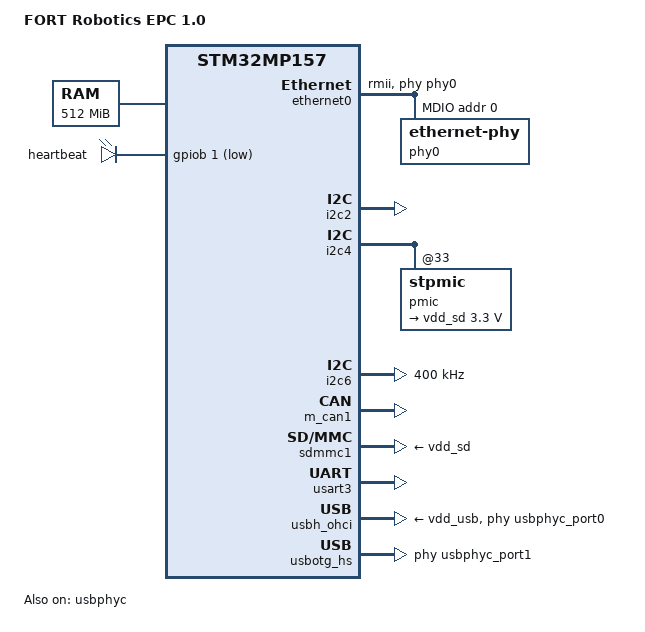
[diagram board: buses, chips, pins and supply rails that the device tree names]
/dts-v1/;

#include "stm32mp157c-ed1.dts"
//#include <dt-bindings/input/input.h>
//#include <dt-bindings/soc/stm32-hdp.h>
#include "stm32mp157c-epc-common-pinctrl.dtsi"
#include "stm32mp157c-epc-revc-pinctrl.dtsi"
#include "stm32mp157c-epc-common-gpio-defaults.dtsi"
#include "stm32mp157c-epc-common-platform.dtsi"

/ {
    model = "FORT Robotics EPC 1.0";
    compatible = "stm32mp157c-epc-revc", "st,stm32mp157c-ed1", "st,stm32mp157";

    chosen {
        stdout-path = "serial0:115200n8";
    };

    memory@c0000000 {
        reg = <0xc0000000 0x20000000>;
    };

    aliases {
        serial1 = &usart3;
        ethernet0 = &ethernet0;
        i2c6 = &i2c6;
    };

    led {
        compatible = "gpio-leds";
        /delete-node/ blue;
        green {
            label = "heartbeat";
            gpios = <&gpiob 1 GPIO_ACTIVE_LOW>;
            linux,default-trigger = "heartbeat";
            default-state = "off";
            drive-open-drain;
        };
    };

    /delete-node/ sd_switch;
};

&adc {
    status = "disabled";
};

&cec {
    status = "disabled";
};

&dac {
    status = "disabled";
};

&dcmi {
    status = "disabled";
};

&dfsdm {
    status = "disabled";
};

&dsi {
    status = "disabled";
};

&ethernet0 {
    status = "okay";
    pinctrl-0 = <&ethernet0_rmii_pins_a>;
    pinctrl-1 = <&ethernet0_rmii_pins_sleep_a>;
    pinctrl-names = "default", "sleep";
    phy-mode = "rmii";
    max-speed = <1000>;
    phy-handle = <&phy0>;

    mdio0 {
        #address-cells = <1>;
        #size-cells = <0>;
        compatible = "snps,dwmac-mdio";
        phy0: ethernet-phy@0 {
            reg = <0>;
        };
    };
};

&fmc {
    status = "disabled";
};

#if 0
&hdp {
    status = "disabled";
};
#endif

&i2c2 {
    pinctrl-names = "default", "sleep";
    pinctrl-0 = <&i2c2_pins_a>;
    pinctrl-1 = <&i2c2_pins_sleep_a>;
    status = "okay";
    /delete-property/dmas;
    /delete-property/dma-names;
};

&i2c4 {
    pinctrl-0 = <&i2c4_pins_b &i2c4_pins_b_z>;
    pinctrl-1 = <&i2c4_pins_sleep_b &i2c4_pins_sleep_b_z>;

    pmic: stpmic@33 {
        regulators {
            vdd_sd: ldo5 {
                regulator-min-microvolt = <3300000>;
                regulator-max-microvolt = <3300000>;
            };

            v1v8: ldo6 {
                regulator-enable-ramp-delay = <300000>;
            };
        };

        onkey {
            status = "disabled";
        };
    };
};

&i2c5 {
    pinctrl-names = "default", "sleep";
    pinctrl-0 = <&i2c5_pins_a>;
    pinctrl-1 = <&i2c5_pins_sleep_a>;
    i2c-scl-rising-time-ns = <185>;
    i2c-scl-falling-time-ns = <20>;
    /delete-property/dmas;
    /delete-property/dma-names;
};

&i2c6 {
    pinctrl-names = "default", "sleep";
    pinctrl-0 = <&i2c6_pins_a>;
    pinctrl-1 = <&i2c6_pins_sleep_a>;
    i2c-scl-rising-time-ns = <185>;
    i2c-scl-falling-time-ns = <20>;
    /delete-property/dmas;
    /delete-property/dma-names;
    status = "okay";
    clock-frequency=<400000>;

};

&ipcc {
    status = "disabled";
};

&iwdg2 {
    status = "disabled";
};

&ltdc {
    status = "disabled";
};

&m4_rproc {
    status = "disabled";
};

&m_can1 {
    pinctrl-names = "default", "sleep";
    pinctrl-0 = <&m_can1_pins_a>;
    pinctrl-1 = <&m_can1_sleep_pins_a>;
    status = "okay";
};

&pwr_regulators {
    /delete-property/ vdd_3v3_usbfs-supply;
};

&qspi {
    status = "disabled";
};

&sai2 {
    status = "disabled";

    sai2a: audio-controller@4400b004 {
        status = "disabled";
    };

    sai2b: audio-controller@4400b024 {
        status = "disabled";
    };
};

&sai4 {
    status = "disabled";

    sai4a: audio-controller@50027004 {
        status = "disabled";
    };
};

&sdmmc1 {
    pinctrl-0 = <&sdmmc1_b4_pins_a>;
    pinctrl-1 = <&sdmmc1_b4_od_pins_a>;
    pinctrl-2 = <&sdmmc1_b4_sleep_pins_a>;
    vmmc-supply = <&vdd_sd>;
    vqmmc-supply = <&vdd_sd>;
    /delete-property/ st,sig-dir;
    /delete-property/ st,use-ckin;
    /delete-property/ sd-uhs-sdr12;
    /delete-property/ sd-uhs-sdr25;
    /delete-property/ sd-uhs-sdr50;
    /delete-property/ sd-uhs-ddr50;
    /delete-property/ sd-uhs-sdr104;
    /*no-1-8-v;*/
    broken-cd;
    /*cd-gpios = <&gpiof 3 0>;*/
};

&sdmmc3 {
    status = "disabled";
};

&spdifrx {
    status = "disabled";
};

&spi1 {
    status = "disabled";
};

&timers2 {
    status = "disabled";
    /* spare dmas for other usage (un-delete to enable pwm capture) */
    /delete-property/dmas;
    /delete-property/dma-names;
    pwm {
        status = "disabled";
    };
    timer@1 {
        status = "disabled";
    };
};

&timers6 {
    status = "disabled";
    /delete-property/dmas;
    /delete-property/dma-names;
};

&timers8 {
    status = "disabled";
    /delete-property/dmas;
    /delete-property/dma-names;
    pwm {
        status = "disabled";
    };
    timer@7 {
        status = "disabled";
    };
};

&timers12 {
    status = "disabled";
    /delete-property/dmas;
    /delete-property/dma-names;
    pwm {
        status = "disabled";
    };
    timer@11 {
        status = "disabled";
    };
};

&usart3 {
    pinctrl-names = "default", "sleep", "idle";
    pinctrl-0 = <&usart3_pins_revc>;
    pinctrl-1 = <&usart3_sleep_pins_revc>;
    pinctrl-2 = <&usart3_idle_pins_revc>;
    status = "okay";
};

&usbh_ohci {
    phys = <&usbphyc_port0>;
    phy-names = "usb";
    vbus-supply = <&vdd_usb>;
    status = "okay";
};

&usbotg_hs {
    pinctrl-names = "default";
    pinctrl-0 = <&usbotg_hs_pins_a>;
    phys = <&usbphyc_port1 0>;
    phy-names = "usb2-phy";
    status = "okay";
};

&usbphyc {
    vdd3v3-supply = <&vdd_usb>;
    status = "okay";
};

&usbphyc_port0 {
    /delete-property/ st,phy-tuning;
};

&usbphyc_port1 {
    /delete-property/ st,phy-tuning;
};

